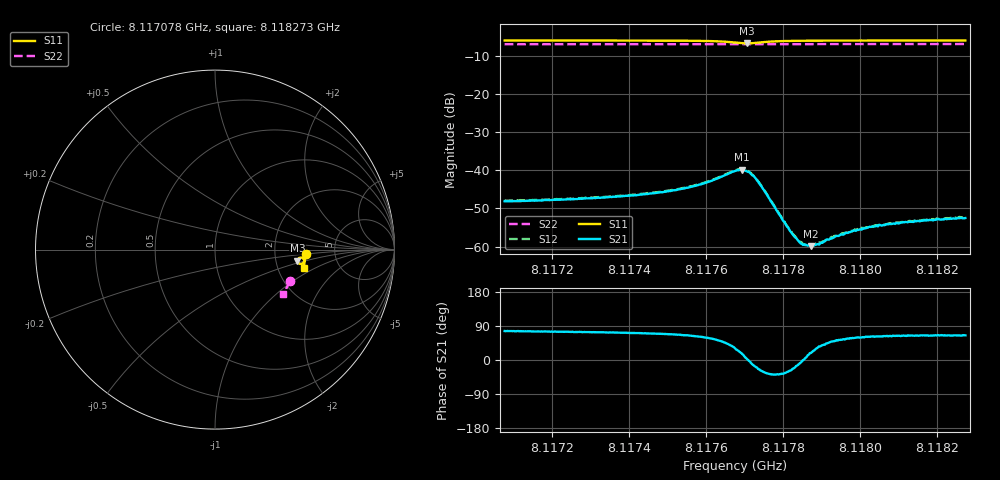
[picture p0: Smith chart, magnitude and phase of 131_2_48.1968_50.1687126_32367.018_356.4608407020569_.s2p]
#  HZ  S  RI  R  50.00
! Rohde & Schwarz Vector Network Analyzer
! Rohde-Schwarz,ZNB20-2Port,1311601062101988,3.16
! Created: UTC 3/20/2024, 11:41:55 AM
! freq[Hz]  re:S11  im:S11  re:S21  im:S21  re:S12  im:S12  re:S22  im:S22
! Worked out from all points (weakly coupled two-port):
!   401 points, 8.117078 GHz to 8.118273 GHz, reference 50 ohm
!   highest |S21| = -39.82 dB at 8.117693 GHz (marker M1); lowest = -59.9 dB at 8.117873 GHz (marker M2)
!   lowest |S11| = -6.7 dB at 8.117705 GHz (marker M3), VSWR 2.73, Z = 133 - j20.7 ohm
!   |S11| at or under -10 dB: nowhere
!   |S22| runs from -6.9 to -6.8 dB; largest |S21 - S12| = 0.0004
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8.1170777e9  0.5055 -0.0231  0.000925 0.00382  0.000969 0.00386  0.4157 -0.1746
8.1172779e9  0.5041 -0.0394  0.00118 0.00406  0.00127 0.00415  0.4106 -0.1878
8.1174154e9  0.5021 -0.0516  0.00152 0.00444  0.0016 0.00451  0.4069 -0.1967
8.1174781e9  0.5005 -0.0579  0.00181 0.00478  0.00191 0.00485  0.405 -0.2007
8.1175409e9  0.4979 -0.065  0.00237 0.00521  0.00244 0.00534  0.4032 -0.2048
8.1175857e9  0.4944 -0.0712  0.00312 0.00575  0.00326 0.00578  0.4016 -0.2077
8.1176754e9  0.4692 -0.0784  0.00838 0.00502  0.00861 0.00506  0.3977 -0.2131
8.1176933e9  0.4612 -0.0701  0.00979 0.0029  0.01 0.00276  0.397 -0.2137
8.1177052e9  0.4592 -0.0614  0.00974 0.000641  0.01 0.000538  0.3969 -0.214
8.1177172e9  0.4621 -0.0527  0.00879 -0.00128  0.00902 -0.00132  0.3967 -0.2143
8.1177321e9  0.47 -0.0459  0.00698 -0.00256  0.00704 -0.00281  0.3968 -0.2151
8.1178039e9  0.4944 -0.0545  0.00172 -0.00118  0.00172 -0.00123  0.3955 -0.22
8.1178307e9  0.4966 -0.0594  0.00125 -0.000442  0.00128 -0.000481  0.3948 -0.2219
8.1178487e9  0.4975 -0.0624  0.00109 -6.64e-05  0.00113 -8.03e-05  0.3941 -0.2229
8.1178726e9  0.498 -0.0659  0.000957 0.000325  0.00097 0.000336  0.3935 -0.2245
8.1178756e9  0.4982 -0.0663  0.000958 0.000373  0.000975 0.000377  0.3934 -0.2249
8.1178965e9  0.4984 -0.069  0.000885 0.000639  0.000905 0.000654  0.3928 -0.226
8.1179294e9  0.4985 -0.0729  0.000857 0.000982  0.000868 0.000959  0.3916 -0.2283
8.1179921e9  0.4981 -0.0794  0.000837 0.00143  0.00087 0.00143  0.3895 -0.2321
8.1180758e9  0.4972 -0.0872  0.000882 0.00177  0.000929 0.00179  0.3866 -0.2375
8.1181804e9  0.4957 -0.096  0.000969 0.00202  0.001 0.00207  0.3832 -0.2439
8.118273e9  0.4943 -0.1035  0.000997 0.00214  0.00102 0.0022  0.3799 -0.2494
